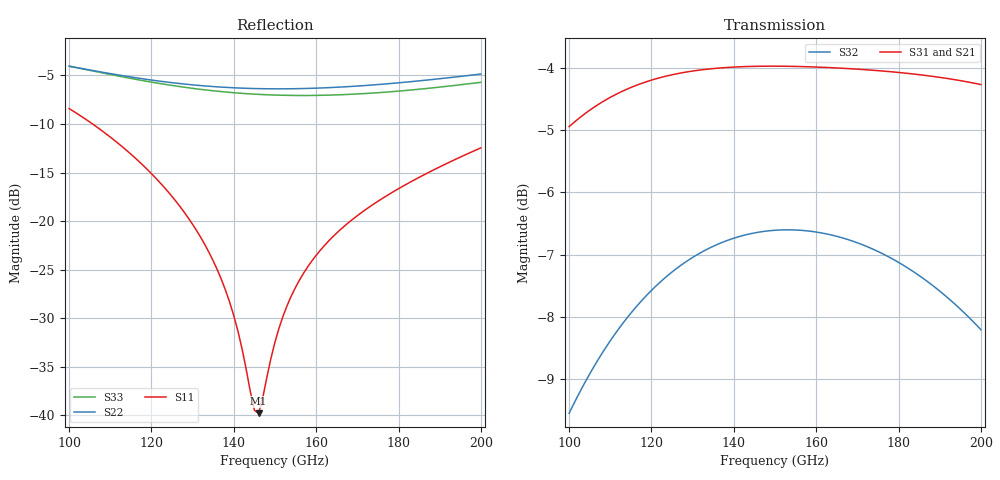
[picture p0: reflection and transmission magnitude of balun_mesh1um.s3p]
! Created with skrf 2.1.0 (http://scikit-rf.org).
# GHz S DB R 50.0
! Port[1] = P1
! Port[2] = P2
! Port[3] = P3
!freq dBS11 angS11 dBS12 angS12 dBS13 angS13
! dBS21 angS21 dBS22 angS22 dBS23 angS23
! dBS31 angS31 dBS32 angS32 dBS33 angS33
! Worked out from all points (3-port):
!   101 points, 100 GHz to 200 GHz, reference 50 ohm
!   strongest paths, dB at 100 GHz, 125 GHz, 150 GHz, 175 GHz, 200 GHz:
!     S31: -4.9, -4.1, -4.0, -4.0, -4.3
!     S21: -4.7, -4.0, -4.0, -4.2, -4.7
!     S32: -9.6, -7.3, -6.6, -7.0, -8.2
!   lowest |S11| = -39.8 dB at 146 GHz (marker M1), VSWR 1.02, Z = 49 + j0.0201 ohm
!   |S11| at or under -10 dB: 105.7 GHz to end of sweep
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100  -8.41 129.7  -4.70 -11.2  -4.94 165.1
     -4.70 -11.2  -4.05 60.0  -9.55 90.9
     -4.94 165.1  -9.55 90.9  -4.05 50.1
118  -14.27 106.8  -4.10 -38.7  -4.24 135.9
     -4.10 -38.7  -5.35 44.0  -7.71 63.8
     -4.24 135.9  -7.71 63.8  -5.54 31.4
131  -21.00 96.7  -3.97 -56.8  -4.04 116.8
     -3.97 -56.8  -6.01 34.3  -7.01 45.7
     -4.04 116.8  -7.01 45.7  -6.38 20.2
139  -28.37 98.8  -3.96 -67.3  -3.99 105.6
     -3.96 -67.3  -6.25 28.6  -6.76 35.2
     -3.99 105.6  -6.76 35.2  -6.74 14.0
145  -39.47 150.8  -3.98 -74.9  -3.98 97.6
     -3.98 -74.9  -6.35 24.4  -6.65 27.6
     -3.98 97.6  -6.65 27.6  -6.92 9.4
146  -39.79 178.9  -3.98 -76.1  -3.97 96.2
     -3.98 -76.1  -6.36 23.7  -6.64 26.3
     -3.97 96.2  -6.64 26.3  -6.95 8.7
150  -32.44 -128.9  -4.00 -81.1  -3.97 91.0
     -4.00 -81.1  -6.38 20.8  -6.61 21.4
     -3.97 91.0  -6.61 21.4  -7.02 5.7
156  -26.03 -118.9  -4.04 -88.4  -3.98 83.2
     -4.04 -88.4  -6.36 16.5  -6.61 14.0
     -3.98 83.2  -6.61 14.0  -7.06 1.2
165  -21.22 -118.2  -4.12 -99.2  -4.00 71.8
     -4.12 -99.2  -6.22 9.6  -6.71 3.2
     -4.00 71.8  -6.71 3.2  -7.00 -5.7
200  -12.46 -132.4  -4.69 -141.2  -4.27 27.6
     -4.69 -141.2  -4.85 -20.7  -8.21 -37.8
     -4.27 27.6  -8.21 -37.8  -5.71 -35.2
